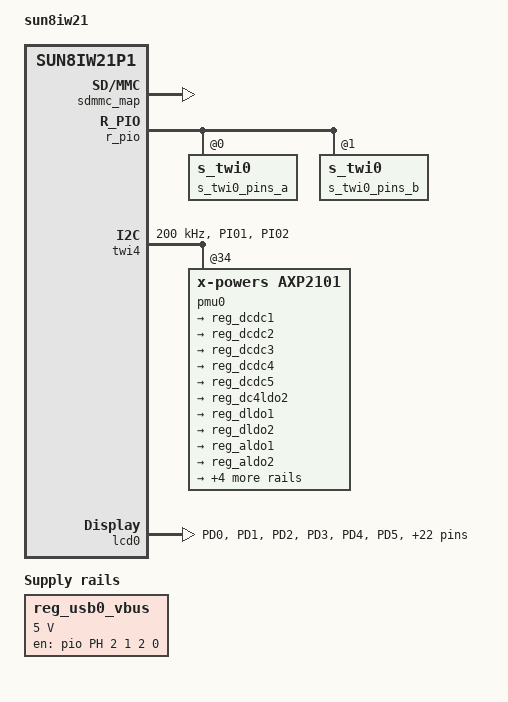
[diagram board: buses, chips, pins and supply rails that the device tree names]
/*
 * Allwinner Technology CO., Ltd. sun8iw19p1 soc board.
 *
 * soc board support.
 */

/{
	model = "sun8iw21";
	compatible = "allwinner,v851", "arm,sun8iw21p1";

	reg_usb0_vbus: usb0-vbus {
		compatible = "regulator-fixed";
		gpio = <&pio PH 2 1 2 0 1>;
		regulator-name = "usb0-vbus";
		regulator-min-microvolt = <5000000>;
		regulator-max-microvolt = <5000000>;
		enable-active-high;
	};

	box_start_os0 {
		compatible = "allwinner,box_start_os";
		start_type = <0x1>;
		irkey_used = <0x0>;
		pmukey_used = <0x0>;
		pmukey_num = <0x0>;
		led_power = <0x0>;
		led_state = <0x0>;
		pinctrl-0 = <&standby_blue>;
		pinctrl-1 = <&standby_red>;
	};
	gpu: gpu@0x01800000 {
			gpu_idle = <1>;
			dvfs_status = <1>;
			operating-points = <
				 /* KHz   uV */
				600000 950000
				576000 950000
				540000 950000
				504000 950000
				456000 950000
				420000 950000
				384000 950000
				360000 950000
				336000 950000
				306000 950000
			 >;
	};
};

&power_sply {
	dcdc1_vol = <1003300>;
	dcdc2_vol = <1000900>;
	dcdc5_vol = <1200>;
	aldo1_vol = <1001800>;
	aldo2_vol = <1001800>;
	aldo3_vol = <1003300>;
	aldo4_vol = <1003300>;
	bldo1_vol = <1001800>;
	bldo2_vol = <1002800>;
	dldo1_vol = <1003300>;
	dldo2_vol = <1001200>;
};

 &sunxi_flashmap {
    /* Unit: Sector */
	sdmmc_map {
		logic_offset = <40960>;
		boot_param_start = <24504>;
		boot_param_size = <1>;
		uboot_start = <32800>;
		uboot_size = <4096>;
		uboot_bak_start = <24576>;
		uboot_bak_size = <4096>;
		secure_storage_start = <12288>;
		secure_storage_size = <512>;
		tuning_data_start = <24512>;
		tuning_data_size = <60>;
		status = "okay";
	};

	nor_map {
		logic_offset = <2016>;
		secure_logic_offset = <2200>;
		rtos_logic_offset = <2016>;
		rtos_secure_logic_offset = <2200>;
		boot_param_start = <120>;
		boot_param_size = <8>;
		uboot_start = <128>;
		uboot_size = <1888>;
		status = "okay";
	};
};

&aliases {
	disp = &disp;
	lcd0 = &lcd0;
	spi0 = &spi0;
	twi4 = &twi4;
};

&platform {
	eraseflag = <1>;
	debug_mode = <4>;
};

&target {
	boot_clock = <900>;    /*CPU boot frequency, Unit: MHz*/
	burn_key = <0>;
};

&r_pio{
	s_twi0_pins_a: s_twi0@0 {
		allwinner,pins = "PL0", "PL1";
		allwinner,pname = "s_twi0_scl", "s_twi0_sda";
		allwinner,function = "s_twi0";
		allwinner,muxsel = <3>;
		allwinner,drive = <1>;
		allwinner,pull = <1>;
	};

	s_twi0_pins_b: s_twi0@1 {
		allwinner,pins = "PL0", "PL1";
		allwinner,function = "io_disabled";
		allwinner,muxsel = <7>;
		allwinner,drive = <1>;
		allwinner,pull = <0>;
	};
};


&pio{
	spi0_pins_a: spi0@0 {
		allwinner,pins = "PC0", "PC2", "PC3";
		allwinner,pname = "spi0_sclk", "spi0_mosi", "spi0_miso";
		allwinner,function = "spi0";
		allwinner,muxsel = <4>;
		allwinner,drive = <1>;
		allwinner,pull = <0>;
	};

	spi0_pins_b: spi0@1 {
		allwinner,pins = "PC1", "PC5", "PC4";
		allwinner,pname = "spi0_cs0", "spi0_hold", "spi0_wp";
		allwinner,function = "spi0";
		allwinner,muxsel = <4>;
		allwinner,drive = <1>;
		allwinner,pull = <1>;   // only CS should be pulled up
	};

	spi0_pins_c: spi0@2 {
		allwinner,pins = "PC0", "PC1", "PC2", "PC3", "PC4", "PC5";
		allwinner,function = "io_disabled";
		allwinner,muxsel = <7>;
		allwinner,drive = <1>;
		allwinner,pull = <0>;
	};

	spi1_pins_a: spi1@0 {
		allwinner,pins = "PH6", "PH7", "PH8";
		allwinner,pname = "spi1_sclk", "spi1_mosi", "spi1_miso";
		allwinner,function = "spi1";
	};

	spi1_pins_b: spi1@1 {
		allwinner,pins = "PH5", "PH9";
		allwinner,pname = "spi1_cs0", "spi1_cs1";
		allwinner,function = "spi1";
	};

	spi1_pins_c: spi1@2 {
		allwinner,pins = "PH5", "PH6", "PH7", "PH8", "PH9";
		allwinner,function = "io_disabled";
	};

	twi0_pins_a: twi0@0 {
		allwinner,pins = "PA0", "PA1";
		allwinner,pname = "twi0_scl", "twi0_sda";
		allwinner,function = "twi0";
		allwinner,muxsel = <4>;
		allwinner,drive = <1>;
		allwinner,pull = <0>;
	};

	twi0_pins_b: twi0@1 {
		allwinner,pins = "PA0", "PA1";
		allwinner,function = "io_disabled";
		allwinner,muxsel = <7>;
		allwinner,drive = <1>;
		allwinner,pull = <0>;
	};

	twi1_pins_a: twi1@0 {
		allwinner,pins = "PA2", "PA3";
		allwinner,pname = "twi1_scl", "twi1_sda";
		allwinner,function = "twi1";
		allwinner,muxsel = <4>;
		allwinner,drive = <1>;
		allwinner,pull = <0>;
	};

	twi1_pins_b: twi1@1 {
		allwinner,pins = "PA2", "PA3";
		allwinner,function = "io_disabled";
		allwinner,muxsel = <7>;
		allwinner,drive = <1>;
		allwinner,pull = <0>;
	};

	twi2_pins_a: twi2@0 {
		allwinner,pins = "PE20", "PE21";
		allwinner,pname = "twi2_scl", "twi2_sda";
		allwinner,function = "twi2";
		allwinner,muxsel = <5>;
		allwinner,drive = <1>;
		allwinner,pull = <0>;
	};

	twi2_pins_b: twi2@1 {
		allwinner,pins = "PE20", "PE21";
		allwinner,function = "io_disabled";
		allwinner,muxsel = <7>;
		allwinner,drive = <1>;
		allwinner,pull = <0>;
	};

	twi3_pins_a: twi3@0 {
		allwinner,pins = "PA10", "PA11";
		allwinner,pname = "twi3_scl", "twi3_sda";
		allwinner,function = "twi3";
		allwinner,muxsel = <2>;
		allwinner,drive = <1>;
		allwinner,pull = <1>;
	};

	twi3_pins_b: twi3@1 {
		allwinner,pins = "PA10", "PA11";
		allwinner,function = "io_disabled";
		allwinner,muxsel = <7>;
		allwinner,drive = <1>;
		allwinner,pull = <0>;
	};

	twi4_pins_a: twi4@0 {
		allwinner,pins = "PI01", "PI02";
		allwinner,pname = "twi4_scl", "twi4_sda";
		allwinner,function = "twi4";
		allwinner,muxsel = <6>;
		allwinner,drive = <1>;
		allwinner,pull = <1>;
	};

	twi4_pins_b: twi4@1 {
		allwinner,pins = "PI01", "PI02";
		allwinner,function = "io_disabled";
		allwinner,muxsel = <0>;
		allwinner,drive = <1>;
		allwinner,pull = <1>;
	};
	sdc0_pins_a: sdc0@0 {
		allwinner,pins = "PF0", "PF1", "PF2",
				 "PF3", "PF4", "PF5";
		allwinner,function = "sdc0";
		allwinner,muxsel = <2>;
		allwinner,drive = <3>;
		allwinner,pull = <1>;
	};
	sdc1_pins_a: sdc1@0 {
		allwinner,pins = "PG0", "PG1", "PG2",
				 "PG3", "PG4", "PG5";
		allwinner,function = "sdc1";
		allwinner,muxsel = <2>;
		allwinner,drive = <3>;
		allwinner,pull = <1>;
	};
	sdc2_pins_a: sdc2@0 {
		allwinner,pins = "PC0", "PC1", "PC2",
				 "PC3", "PC4", "PC5", "PC6",
				 "PC7", "PC8", "PC9", "PC11";
		allwinner,function = "sdc2";
		allwinner,muxsel = <3>;
		allwinner,drive = <2>;
		allwinner,pull = <1>;
	};
	sdc2_pins_b: sdc2@1 {
		allwinner,pins = "PC0", "PC1", "PC2",
				 "PC3", "PC4", "PC5", "PC6",
				 "PC7", "PC8", "PC9", "PC10", "PC11";
		allwinner,function = "io_disabled";
		allwinner,muxsel = <7>;
		allwinner,drive = <1>;
		allwinner,pull = <1>;
	};
	sdc2_pins_c: sdc2@2 {
		allwinner,pins = "PC10";
		allwinner,function = "sdc2";
		allwinner,muxsel = <3>;
		allwinner,drive = <2>;
		allwinner,pull = <2>;
	};
	pwm5_pin_a: pwm5@0 {
		allwinner,pins = "PA12";
		allwinner,function = "pwm5";
		allwinner,muxsel = <0x02>;
		allwinner,drive = <0xffffffff>;
		allwinner,pull = <0>;
		allwinner,data = <0xffffffff>;
	};
	pwm5_pin_b: pwm5@1 {
		allwinner,pins = "PA12";
		allwinner,function = "io_disabled";
		allwinner,muxsel = <0x07>;
		allwinner,drive = <0xffffffff>;
		allwinner,pull = <0>;
		allwinner,data = <0xffffffff>;
	};
	standby_red: standby@0 {
		allwinner,pins = "PH6";
		allwinner,function = "gpio_out";
		allwinner,muxsel = <1>;
		allwinner,data = <1>;
		allwinner,drive = <0>;
		allwinner,pull = <0>;
	};
	standby_blue: standby@1 {
		allwinner,pins = "PH7";
		allwinner,function = "gpio_out";
		allwinner,muxsel = <1>;
		allwinner,data = <0>;
		allwinner,drive = <2>;
		allwinner,pull = <2>;
	};
};


&twi4 {
	clock-frequency = <200000>;
	pinctrl-0 = <&twi4_pins_a>;
	pinctrl-1 = <&twi4_pins_b>;
	no_suspend = <1>;
	twi_drv_used = <1>;
	status = "okay";
	pmu0: pmu@34 {
		compatible = "x-powers,axp2101";
		status = "okay";
		/* interrupts = <0 IRQ_TYPE_LEVEL_LOW>;
		 * interrupt-parent = <&gic>; */
		x-powers,drive-vbus-en;

		wakeup-source;

		regulator0: regulators@0 {
			reg_dcdc1: dcdc1 {
				regulator-name = "axp2101-dcdc1";
			};
			reg_dcdc2: dcdc2 {
				regulator-name = "axp2101-dcdc2";
			};
			reg_dcdc3: dcdc3 {
				regulator-name = "axp2101-dcdc3";
			};
			reg_dcdc4: dcdc4 {
				regulator-name = "axp2101-dcdc4";
			};
			reg_dcdc5: dcdc5 {
				regulator-name = "axp2101-dcdc5";
			};
			reg_dc4ldo2:dc4ldo2 {
				regulator-name = "axp2101-dc4ldo2";
	    		};
			reg_dldo1: dldo1 {
				regulator-name = "axp2101-dldo1";
			};
			reg_dldo2: dldo2 {
				regulator-name = "axp2101-dldo2";
			};
			reg_aldo1: aldo1 {
				regulator-name = "axp2101-aldo1";
			};
			reg_aldo2: aldo2 {
				regulator-name = "axp2101-aldo2";
			};
			reg_aldo3: aldo3 {
				regulator-name = "axp2101-aldo3";
			};
			reg_aldo4: aldo4 {
				regulator-name = "axp2101-aldo4";
			};
			reg_bldo1: bldo1 {
				regulator-name = "axp2101-bldo1";
			};
			reg_bldo2: bldo2 {
				regulator-name = "axp2101-bldo2";
			};
		};
	};
};


&spi0 {
	clock-frequency = <100000000>;
	pinctrl-0 = <&spi0_pins_a &spi0_pins_b>;
	pinctrl-1 = <&spi0_pins_c>;
	pinctrl-names = "default", "sleep";
	spi_slave_mode = <0>;
	spi_dbi_enable = <0>;
	spi0_cs_number = <1>;
	status = "disabled";

	spi_board0 {
		device_type = "spi_board0";
		compatible = "spi-nor";
		spi-max-frequency = <100000000>;
		m25p,fast-read = <1>;
		/*individual_lock;*/
		reg = <0x0>;
		spi-rx-bus-width=<0x04>;
		spi-tx-bus-width=<0x04>;
		status="disabled";
	};

	spi-nand@0 {
		compatible = "spi-nand";
		spi-max-frequency=<0x05F5E100>;
		reg = <0x0>;
		spi-rx-bus-width=<0x01>;
		spi-tx-bus-width=<0x01>;
		status="disabled";
	};
};

&card_boot {
	sprite_gpio0 = <0x54 0x7 0x6 0x1 0xffffffff 0xffffffff 0x1>;
};

&card0_boot_para {  /* Avoid dtc compiling warnings. @TODO: Developer should modify this to the actual value */
	/* reg = <0x0 0x2 0x0 0x0>;  [> Avoid dtc compiling warnings. @TODO: Developer should modify this to the actual value <] */
	device_type = "card0_boot_para";
	card_ctrl = <0x0>;
	card_high_speed = <0x1>;
	card_line = <0x4>;
	pinctrl-0 = <&sdc0_pins_a>;
};

&card2_boot_para {  /* Avoid dtc compiling warnings. @TODO: Developer should modify this to the actual value */
	/* reg = <0x0 0x3 0x0 0x0>;  [> Avoid dtc compiling warnings. @TODO: Developer should modify this to the actual value <] */
	device_type = "card2_boot_para";
	card_ctrl = <0x2>;
	card_high_speed = <0x1>;
	card_line = <0x8>;
	pinctrl-0 = <&sdc2_pins_a &sdc2_pins_c>;
	sdc_ex_dly_used = <0x2>;
	sdc_io_1v8 = <0x0>;
};

&nand0 {
	compatible = "allwinner,sun50iw9-nand";
	device_type = "nand0";
	//reg = <0x0 0x04011000 0x0 0x1000>;/* nand0 */
	pinctrl-names = "default", "sleep";
	pinctrl-0 = <&nand0_pins_a &nand0_pins_b>;
	pinctrl-1 = <&nand0_pins_c>;
	nand0_regulator1 = "vcc-nand";
	nand0_regulator2 = "none";
	nand0_cache_level = <0x55aaaa55>;
	nand0_flush_cache_num = <0x55aaaa55>;
	nand0_capacity_level = <0x55aaaa55>;
	nand0_id_number_ctl = <0x55aaaa55>;
	nand0_print_level = <0x55aaaa55>;
	nand0_p0 = <0x55aaaa55>;
	nand0_p1 = <0x55aaaa55>;
	nand0_p2 = <0x55aaaa55>;
	nand0_p3 = <0x55aaaa55>;
	chip_code = "sun50iw9";
	status = "disabled";
};

&lcd0{
	lcd_used            = <0>;

	lcd_driver_name     = "default_lcd";
	lcd_backlight       = <50>;
	lcd_if              = <0>;

	lcd_x               = <1280>;
	lcd_y               = <800>;
	lcd_width           = <150>;
	lcd_height          = <94>;
	lcd_dclk_freq       = <70>;

	lcd_pwm_used        = <0>;
	lcd_pwm_ch          = <0>;
	lcd_pwm_freq        = <50000>;
	lcd_pwm_pol         = <0>;
	lcd_pwm_max_limit   = <255>;


	lcd_hbp             = <20>;
	lcd_ht              = <1418>;
	lcd_hspw            = <10>;
	lcd_vbp             = <10>;
	lcd_vt              = <814>;
	lcd_vspw            = <5>;

	lcd_lvds_if         = <0>;
	lcd_lvds_colordepth = <0>;
	lcd_lvds_mode       = <0>;
	lcd_frm             = <0>;
	lcd_hv_clk_phase    = <0>;
	lcd_hv_sync_polarity= <0>;
	lcd_gamma_en        = <0>;
	lcd_bright_curve_en = <0>;
	lcd_cmap_en         = <0>;

	deu_mode            = <0>;
	lcdgamma4iep        = <22>;
	smart_color         = <90>;

	lcd_pin_power = "bldo1";

	lcd_power = "dc1sw";
	/*lcd_bl_en        = <&pio PD 27 1 0 3 1>;*/
	pinctrl-0 = <&rgb24_pins_a>;
	pinctrl-1 = <&rgb24_pins_b>;

};

&pio{
	rgb24_pins_a: rgb24@0 {
		allwinner,pins = "PD0", "PD1", "PD2", "PD3", "PD4", "PD5", "PD6", "PD7", "PD8", "PD9", \
		"PD10", "PD11", "PD12", "PD13", "PD14", "PD15", "PD16", "PD17", "PD18", "PD19", \
		"PD20", "PD21", "PD22", "PD23", "PD24", "PD25", "PD26", "PD27";
		allwinner,pname = "PD0", "PD1", "PD2", "PD3", "PD4", "PD5", "PD6", "PD7", "PD8", "PD9", \
		"PD10", "PD11", "PD12", "PD13", "PD14", "PD15", "PD16", "PD17", "PD18", "PD19", \
		"PD20", "PD21", "PD22", "PD23", "PD24", "PD25", "PD26", "PD27";
		allwinner,function = "rgb24";
		allwinner,muxsel = <2>;
		allwinner,drive = <3>;
		allwinner,pull = <0>;
	};
	rgb24_pins_b: rgb24@1 {
		allwinner,pins = "PD0", "PD1", "PD2", "PD3", "PD4", "PD5", "PD6", "PD7", "PD8", "PD9", \
		"PD10", "PD11", "PD12", "PD13", "PD14", "PD15", "PD16", "PD17", "PD18", "PD19", \
		"PD20", "PD21", "PD22", "PD23", "PD24", "PD25", "PD26", "PD27";
		allwinner,pname = "PD0", "PD1", "PD2", "PD3", "PD4", "PD5", "PD6", "PD7", "PD8", "PD9", \
		"PD10", "PD11", "PD12", "PD13", "PD14", "PD15", "PD16", "PD17", "PD18", "PD19", \
		"PD20", "PD21", "PD22", "PD23", "PD24", "PD25", "PD26", "PD27";
		allwinner,function = "rgb24_suspend";
		allwinner,muxsel = <7>;
		allwinner,drive = <3>;
		allwinner,pull = <0>;
	};
};
&disp {
	disp_init_enable         = <1>;
	disp_mode                = <0>;

	screen0_output_type      = <3>;
	screen0_output_mode      = <10>;
	screen0_output_format    = <0>;
	screen0_output_bits      = <0>;
	screen0_output_eotf      = <4>;
	screen0_output_cs        = <257>;
	screen0_output_dvi_hdmi  = <2>;
	screen0_output_range     = <2>;
	screen0_output_scan      = <0>;
	screen0_output_aspect_ratio = <8>;

	screen1_output_type      = <2>;
	screen1_output_mode      = <11>;
	screen1_output_format    = <1>;
	screen1_output_bits      = <0>;
	screen1_output_eotf      = <4>;
	screen1_output_cs        = <260>;
	screen1_output_dvi_hdmi  = <0>;
	screen1_output_range     = <2>;
	screen1_output_scan      = <0>;
	screen1_output_aspect_ratio = <8>;
	dev0_output_type         = <4>;
	dev0_output_mode         = <10>;
	dev0_screen_id           = <0>;
	dev0_do_hpd              = <1>;

	dev1_output_type         = <2>;
	dev1_output_mode         = <11>;
	dev1_screen_id           = <1>;
	dev1_do_hpd              = <1>;

	dev2_output_type         = <0>;
	def_output_dev           = <0>;
	hdmi_mode_check          = <1>;

	fb0_format               = <0>;
	fb0_width                = <1280>;
	fb0_height               = <720>;

	fb1_format               = <0>;
	fb1_width                = <0>;
	fb1_height               = <0>;

	chn_cfg_mode             = <1>;

	disp_para_zone           = <1>;
};

